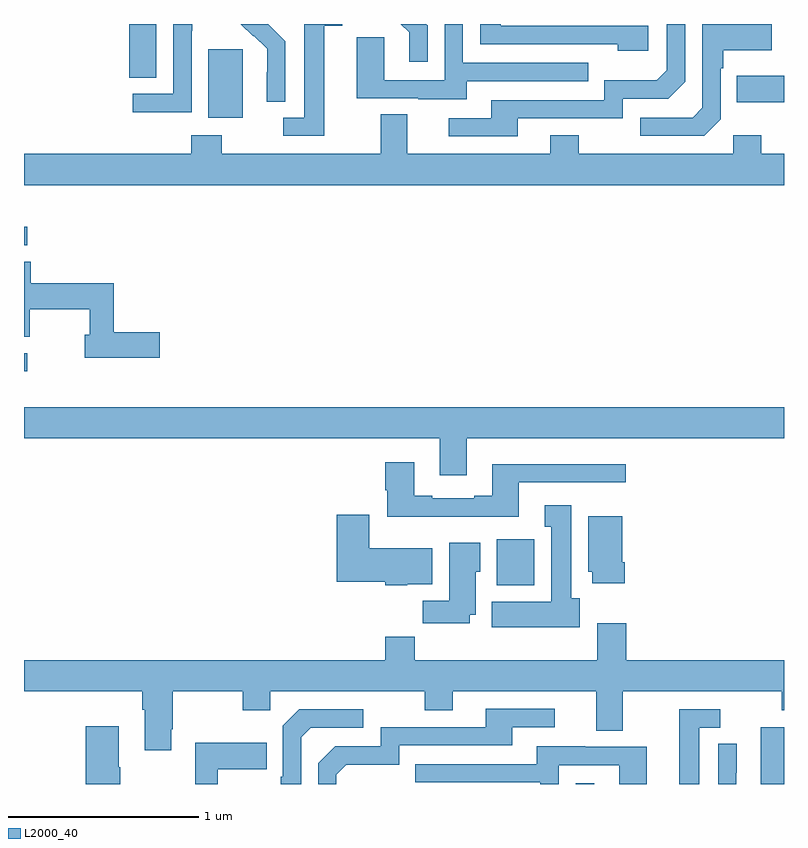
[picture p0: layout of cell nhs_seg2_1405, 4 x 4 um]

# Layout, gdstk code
import gdstk
lib = gdstk.Library(unit=1e-6, precision=1e-09)
def R(c, l, rs):  # rectangles x0, y0, x1, y1
    for r in rs: c.add(gdstk.rectangle(r[:2], r[2:], *l))
def P(c, l, *ps):  # polygons
    for p in ps: c.add(gdstk.Polygon(p, *l))
L2000_40 = (2000, 40)

nhs_seg2_1405 = lib.new_cell('nhs_seg2_1405')
R(nhs_seg2_1405, L2000_40, [(185.904,661.8,186.001,661.804), (186.878,661.8,187,662.098), (185.489,662.846,185.686,663.088), (183,663.972,183.016,664.068), (183,664.635,183.016,664.734), (183.971,665.306,184.15,665.667), (186.751,665.387,187,665.527), (183.554,665.518,183.697,665.8)])
P(nhs_seg2_1405, L2000_40, [(185.124,665.794),(185.118,665.8),(184.984,665.8),(185.027,665.757),(185.027,665.601),(185.124,665.601)],
  [(184.579,665.792),(184.675,665.792),(184.675,665.8),(184.475,665.8),(184.475,665.307),(184.365,665.307),(184.365,665.211),(184.579,665.211)],
  [(185.599,665.304),(186.15,665.304),(186.15,665.406),(186.39,665.406),(186.48,665.496),(186.48,665.8),(186.384,665.8),(186.384,665.556),(186.331,665.503),(186.054,665.503),(186.054,665.4),(185.459,665.4),(185.459,665.304),(185.235,665.304),(185.235,665.208),(185.599,665.208)],
  [(186.286,665.79),(185.509,665.79),(185.509,665.8),(185.4,665.8),(185.4,665.694),(186.125,665.694),(186.125,665.66),(186.286,665.66)],
  [(184.374,665.71),(184.301,665.783),(184.302,665.784),(184.286,665.8),(184.142,665.8),(184.206,665.736),(184.209,665.739),(184.28,665.669),(184.28,665.546),(184.278,665.546),(184.278,665.392),(184.374,665.392)],
  [(183.882,665.764),(183.885,665.764),(183.885,665.8),(183.786,665.8),(183.786,665.433),(183.573,665.433),(183.573,665.335),(183.882,665.335)],
  [(185.329,665.499),(185.969,665.499),(185.969,665.595),(185.31,665.595),(185.31,665.8),(185.214,665.8),(185.214,665.505),(184.896,665.505),(184.896,665.729),(184.751,665.729),(184.751,665.409),(185.075,665.409),(185.075,665.405),(185.329,665.405)],
  [(186.666,665.298),(186.666,665.567),(186.679,665.567),(186.679,665.663),(186.935,665.663),(186.935,665.8),(186.57,665.8),(186.57,665.358),(186.519,665.307),(186.243,665.307),(186.243,665.211),(186.579,665.211)],
  [(187,665.116),(186.879,665.116),(186.879,665.215),(186.732,665.215),(186.732,665.116),(185.919,665.116),(185.919,665.215),(185.771,665.215),(185.771,665.116),(185.017,665.116),(185.017,665.324),(184.877,665.324),(184.877,665.116),(184.041,665.116),(184.041,665.215),(183.881,665.215),(183.881,665.116),(183,665.116),(183,664.952),(187,664.952)],
  [(183.715,664.178),(183.473,664.178),(183.473,664.436),(183.035,664.436),(183.035,664.55),(183,664.55),(183,664.153),(183.03,664.153),(183.03,664.3),(183.345,664.3),(183.345,664.165),(183.319,664.165),(183.319,664.043),(183.715,664.043)],
  [(185.329,663.62),(187,663.62),(187,663.784),(183,663.784),(183,663.62),(185.189,663.62),(185.189,663.426),(185.329,663.426)],
  [(185.605,663.387),(186.166,663.387),(186.166,663.484),(185.465,663.484),(185.465,663.316),(185.369,663.316),(185.369,663.303),(185.149,663.303),(185.149,663.316),(185.053,663.316),(185.053,663.493),(184.901,663.493),(184.901,663.345),(184.913,663.345),(184.913,663.206),(185.605,663.206)],
  [(185.926,662.778),(185.881,662.778),(185.881,663.268),(185.741,663.268),(185.741,663.155),(185.774,663.155),(185.774,662.758),(185.462,662.758),(185.462,662.624),(185.926,662.624)],
  [(185.016,662.852),(185.149,662.852),(185.149,663.04),(184.816,663.04),(184.816,663.217),(184.646,663.217),(184.646,662.864),(184.902,662.864),(184.902,662.846),(185.016,662.846)],
  [(186.161,662.968),(186.148,662.968),(186.148,663.208),(185.969,663.208),(185.969,662.916),(185.99,662.916),(185.99,662.856),(186.161,662.856)],
  [(185.347,662.69),(185.377,662.69),(185.377,662.916),(185.401,662.916),(185.401,663.07),(185.237,663.07),(185.237,662.764),(185.098,662.764),(185.098,662.646),(185.347,662.646)],
  [(183.775,662.089),(183.783,662.089),(183.783,662.288),(184.15,662.288),(184.15,662.189),(184.296,662.189),(184.296,662.288),(185.11,662.288),(185.11,662.189),(185.257,662.189),(185.257,662.288),(186.011,662.288),(186.011,662.08),(186.151,662.08),(186.151,662.288),(186.988,662.288),(186.988,662.189),(187,662.189),(187,662.452),(186.17,662.452),(186.17,662.647),(186.017,662.647),(186.017,662.452),(185.057,662.452),(185.057,662.576),(184.901,662.576),(184.901,662.452),(183,662.452),(183,662.288),(183.623,662.288),(183.623,662.192),(183.635,662.192),(183.635,661.977),(183.775,661.977)],
  [(184.644,661.848),(184.697,661.901),(184.974,661.901),(184.974,662.004),(185.569,662.004),(185.569,662.1),(185.794,662.1),(185.794,662.196),(185.429,662.196),(185.429,662.1),(184.878,662.1),(184.878,661.998),(184.638,661.998),(184.548,661.908),(184.548,661.8),(184.644,661.8)],
  [(184.458,662.046),(184.509,662.097),(184.786,662.097),(184.786,662.193),(184.449,662.193),(184.362,662.106),(184.362,661.837),(184.35,661.837),(184.35,661.8),(184.458,661.8)],
  [(186.553,662.097),(186.664,662.097),(186.664,662.193),(186.449,662.193),(186.449,661.8),(186.553,661.8)],
  [(183.507,661.889),(183.499,661.889),(183.499,662.104),(183.326,662.104),(183.326,661.8),(183.507,661.8)],
  [(184.021,661.877),(184.277,661.877),(184.277,662.017),(183.9,662.017),(183.9,661.8),(184.021,661.8)],
  [(186.749,661.858),(186.75,661.858),(186.75,662.012),(186.654,662.012),(186.654,661.8),(186.749,661.8)],
  [(185.814,661.899),(186.132,661.899),(186.132,661.8),(186.277,661.8),(186.277,661.995),(185.953,661.995),(185.953,661.999),(185.699,661.999),(185.699,661.905),(185.059,661.905),(185.059,661.809),(185.718,661.809),(185.718,661.8),(185.814,661.8)])

lib.write_gds('nhs_seg2_1405.gds')
